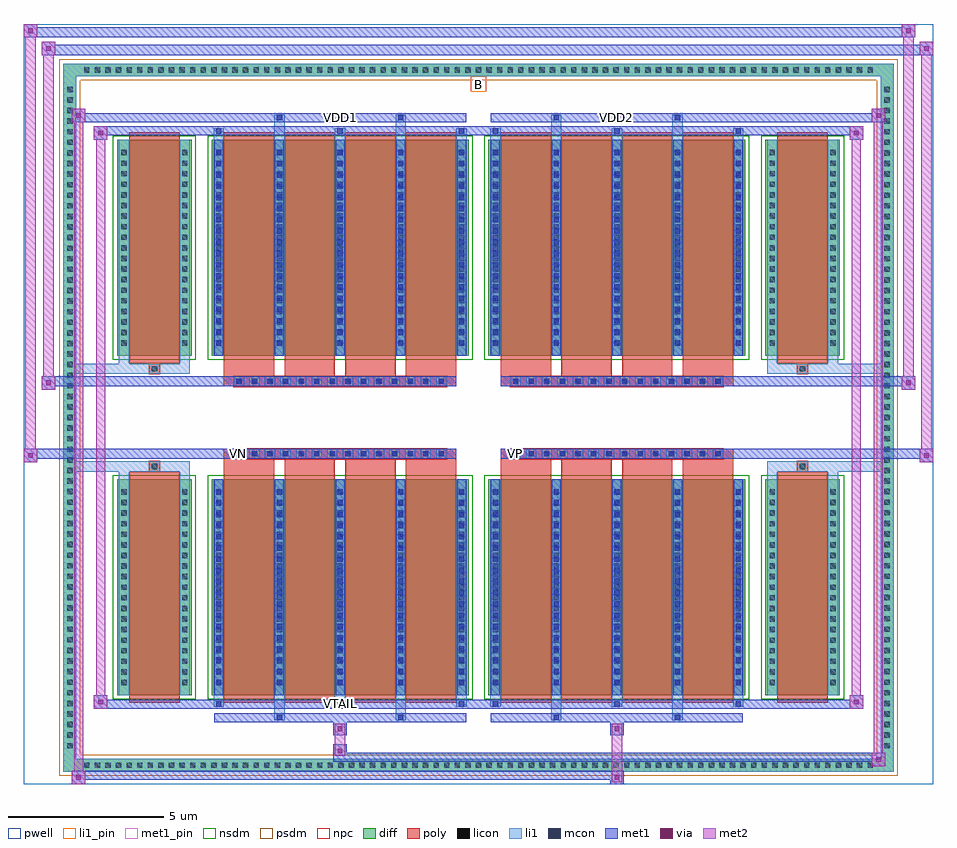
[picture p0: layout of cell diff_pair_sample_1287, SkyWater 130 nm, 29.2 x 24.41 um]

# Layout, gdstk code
import gdstk
lib = gdstk.Library(unit=1e-6, precision=5e-09)
def R(c, l, rs):  # rectangles x0, y0, x1, y1
    for r in rs: c.add(gdstk.rectangle(r[:2], r[2:], *l))
def A(c, l, x, y, w, h, nx, ny, dx, dy):  # array of equal rectangles
    R(c, l, [(x+i*dx, y+j*dy, x+i*dx+w, y+j*dy+h) for i in range(nx) for j in range(ny)])
def P(c, l, *ps):  # polygons
    for p in ps: c.add(gdstk.Polygon(p, *l))
pwell = (64, 44)
diff = (65, 20)
poly = (66, 20)
licon = (66, 44)
li1_pin = (67, 16)
li1 = (67, 20)
mcon = (67, 44)
met1_pin = (68, 16)
met1 = (68, 20)
via = (68, 44)
met2 = (69, 20)
nsdm = (93, 44)
psdm = (94, 20)
npc = (95, 20)

diff_pair_sample_1287 = lib.new_cell('diff_pair_sample_1287')
R(diff_pair_sample_1287, pwell, [(-14.6,-11.77,14.6,12.64), (-11.92,-9.96,-0.01,-0.8), (0.01,-9.96,11.92,-0.8), (-11.92,0.8,-0.01,9.96), (0.01,0.8,11.92,9.96)])
A(diff_pair_sample_1287, diff, -12.785, -11.37, 0.41, 0.41, 75, 2, 0.34, 22.33)
A(diff_pair_sample_1287, diff, -13.33, -10.745, 0.41, 0.41, 1, 63, 0, 0.34)
A(diff_pair_sample_1287, diff, 12.92, -10.745, 0.41, 0.41, 1, 63, 0, 0.34)
R(diff_pair_sample_1287, diff, [(-12.785,-11.37,12.785,-10.96), (-13.33,-10.745,-12.92,10.745), (12.92,-10.745,13.33,10.745), (-11.61,-8.915,-9.21,-1.985), (-8.57,-8.915,-0.32,-1.985), (0.32,-8.915,8.57,-1.985), (9.21,-8.915,11.61,-1.985), (-11.61,1.985,-9.21,8.915), (-8.57,1.985,-0.32,8.915), (0.32,1.985,8.57,8.915), (9.21,1.985,11.61,8.915), (-12.785,10.96,12.785,11.37)])
P(diff_pair_sample_1287, diff, [(13.33,11.37),(-13.33,11.37),(-13.33,-10.96),(-12.92,-10.96),(-12.92,10.96),(12.92,10.96),(12.92,-10.96),(-12.92,-10.96),(-13.33,-10.96),(-13.33,-11.37),(13.33,-11.37)])
A(diff_pair_sample_1287, poly, -8.18, -9.165, 1.62, 7.43, 4, 2, 1.95, 10.9)
A(diff_pair_sample_1287, poly, 0.71, -9.165, 1.62, 7.43, 4, 2, 1.95, 10.9)
A(diff_pair_sample_1287, poly, -8.18, -1.735, 1.62, 0.405, 4, 2, 1.95, 3.065)
A(diff_pair_sample_1287, poly, 0.71, -1.735, 1.62, 0.405, 4, 2, 1.95, 3.065)
A(diff_pair_sample_1287, poly, -7.86, -1.33, 0.33, 0.33, 14, 2, 0.5, 2.33)
A(diff_pair_sample_1287, poly, 1.03, -1.33, 0.33, 0.33, 14, 2, 0.5, 2.33)
R(diff_pair_sample_1287, poly, [(-11.22,-9.165,-9.6,-1.735), (9.6,-9.165,11.22,-1.735), (-10.575,-1.735,-10.245,-1.405), (-10.575,-1.735,-10.245,-1.405), (10.245,-1.735,10.575,-1.405), (10.245,-1.735,10.575,-1.405), (-8.18,-1.33,-0.71,-1), (0.71,-1.33,8.18,-1), (-8.18,1,-0.71,1.33), (0.71,1,8.18,1.33), (-10.575,1.405,-10.245,1.735), (-10.575,1.405,-10.245,1.735), (10.245,1.405,10.575,1.735), (10.245,1.405,10.575,1.735), (-11.22,1.735,-9.6,9.165), (9.6,1.735,11.22,9.165)])
A(diff_pair_sample_1287, licon, -12.665, -11.25, 0.17, 0.17, 75, 2, 0.34, 22.33)
A(diff_pair_sample_1287, licon, -13.21, -10.625, 0.17, 0.17, 1, 63, 0, 0.34)
A(diff_pair_sample_1287, licon, 13.04, -10.625, 0.17, 0.17, 1, 63, 0, 0.34)
A(diff_pair_sample_1287, licon, -11.47, -8.595, 0.17, 0.17, 1, 19, 0, 0.34)
A(diff_pair_sample_1287, licon, -9.52, -8.595, 0.17, 0.17, 1, 19, 0, 0.34)
A(diff_pair_sample_1287, licon, -8.43, -8.595, 0.17, 0.17, 5, 19, 1.95, 0.34)
A(diff_pair_sample_1287, licon, 0.46, -8.595, 0.17, 0.17, 5, 19, 1.95, 0.34)
A(diff_pair_sample_1287, licon, 9.35, -8.595, 0.17, 0.17, 1, 19, 0, 0.34)
A(diff_pair_sample_1287, licon, 11.3, -8.595, 0.17, 0.17, 1, 19, 0, 0.34)
A(diff_pair_sample_1287, licon, -7.78, -1.25, 0.17, 0.17, 14, 2, 0.5, 2.33)
A(diff_pair_sample_1287, licon, 1.11, -1.25, 0.17, 0.17, 14, 2, 0.5, 2.33)
A(diff_pair_sample_1287, licon, -11.47, 2.305, 0.17, 0.17, 1, 19, 0, 0.34)
A(diff_pair_sample_1287, licon, -9.52, 2.305, 0.17, 0.17, 1, 19, 0, 0.34)
A(diff_pair_sample_1287, licon, -8.43, 2.305, 0.17, 0.17, 5, 19, 1.95, 0.34)
A(diff_pair_sample_1287, licon, 0.46, 2.305, 0.17, 0.17, 5, 19, 1.95, 0.34)
A(diff_pair_sample_1287, licon, 9.35, 2.305, 0.17, 0.17, 1, 19, 0, 0.34)
A(diff_pair_sample_1287, licon, 11.3, 2.305, 0.17, 0.17, 1, 19, 0, 0.34)
R(diff_pair_sample_1287, licon, [(-10.495,-1.655,-10.325,-1.485), (10.325,-1.655,10.495,-1.485), (-10.495,1.485,-10.325,1.655), (10.325,1.485,10.495,1.655)])
R(diff_pair_sample_1287, li1_pin, [(-0.25,10.46,0.25,10.96)])
A(diff_pair_sample_1287, li1, -12.745, -11.33, 0.33, 0.33, 75, 2, 0.34, 22.33)
A(diff_pair_sample_1287, li1, -13.29, -10.705, 0.33, 0.33, 1, 63, 0, 0.34)
A(diff_pair_sample_1287, li1, 12.96, -10.705, 0.33, 0.33, 1, 63, 0, 0.34)
A(diff_pair_sample_1287, li1, -8.51, -9.29, 0.33, 0.375, 3, 2, 3.9, 18.205)
A(diff_pair_sample_1287, li1, -8.43, -9.29, 0.17, 0.17, 3, 2, 3.9, 18.41)
A(diff_pair_sample_1287, li1, 0.38, -9.29, 0.33, 0.375, 3, 2, 3.9, 18.205)
A(diff_pair_sample_1287, li1, 0.46, -9.29, 0.17, 0.17, 3, 2, 3.9, 18.41)
A(diff_pair_sample_1287, li1, -8.51, -8.915, 0.33, 6.93, 5, 2, 1.95, 10.9)
A(diff_pair_sample_1287, li1, 0.38, -8.915, 0.33, 6.93, 5, 2, 1.95, 10.9)
A(diff_pair_sample_1287, li1, -11.55, -8.675, 0.33, 0.33, 1, 19, 0, 0.34)
A(diff_pair_sample_1287, li1, -9.6, -8.675, 0.33, 0.33, 1, 19, 0, 0.34)
A(diff_pair_sample_1287, li1, -8.51, -8.675, 0.33, 0.33, 5, 19, 1.95, 0.34)
A(diff_pair_sample_1287, li1, 0.38, -8.675, 0.33, 0.33, 5, 19, 1.95, 0.34)
A(diff_pair_sample_1287, li1, 9.27, -8.675, 0.33, 0.33, 1, 19, 0, 0.34)
A(diff_pair_sample_1287, li1, 11.22, -8.675, 0.33, 0.33, 1, 19, 0, 0.34)
A(diff_pair_sample_1287, li1, -8.43, -8.595, 0.17, 0.17, 5, 18, 1.95, 0.36)
A(diff_pair_sample_1287, li1, -8.43, -8.595, 0.17, 6.29, 5, 2, 1.95, 10.9)
A(diff_pair_sample_1287, li1, 0.46, -8.595, 0.17, 0.17, 5, 18, 1.95, 0.36)
A(diff_pair_sample_1287, li1, 0.46, -8.595, 0.17, 6.29, 5, 2, 1.95, 10.9)
A(diff_pair_sample_1287, li1, -7.86, -1.33, 0.33, 0.33, 14, 2, 0.5, 2.33)
A(diff_pair_sample_1287, li1, 1.03, -1.33, 0.33, 0.33, 14, 2, 0.5, 2.33)
A(diff_pair_sample_1287, li1, -11.55, 2.225, 0.33, 0.33, 1, 19, 0, 0.34)
A(diff_pair_sample_1287, li1, -9.6, 2.225, 0.33, 0.33, 1, 19, 0, 0.34)
A(diff_pair_sample_1287, li1, -8.51, 2.225, 0.33, 0.33, 5, 19, 1.95, 0.34)
A(diff_pair_sample_1287, li1, 0.38, 2.225, 0.33, 0.33, 5, 19, 1.95, 0.34)
A(diff_pair_sample_1287, li1, 9.27, 2.225, 0.33, 0.33, 1, 19, 0, 0.34)
A(diff_pair_sample_1287, li1, 11.22, 2.225, 0.33, 0.33, 1, 19, 0, 0.34)
A(diff_pair_sample_1287, li1, -8.43, 2.305, 0.17, 0.17, 5, 18, 1.95, 0.36)
A(diff_pair_sample_1287, li1, 0.46, 2.305, 0.17, 0.17, 5, 18, 1.95, 0.36)
R(diff_pair_sample_1287, li1, [(-13.33,-11.37,-12.92,-10.96), (-13.33,-11.37,-12.92,-10.96), (-12.92,-11.37,12.92,-10.96), (12.92,-11.37,13.33,-10.96), (12.92,-11.37,13.33,-10.96), (-13.33,-10.96,-12.92,10.96), (12.92,-10.96,13.33,10.96), (-6.56,-9.72,-6.23,-8.915), (-6.48,-9.72,-6.31,-9.55), (-2.66,-9.72,-2.33,-8.915), (-2.58,-9.72,-2.41,-9.55), (2.33,-9.72,2.66,-8.915), (2.41,-9.72,2.58,-9.55), (6.23,-9.72,6.56,-8.915), (6.31,-9.72,6.48,-9.55), (-11.55,-8.915,-11.22,-1.985), (-9.6,-8.915,-9.27,-1.985), (9.27,-8.915,9.6,-1.985), (11.22,-8.915,11.55,-1.985), (-11.55,-1.985,-11.22,-1.405), (-9.6,-1.985,-9.27,-1.405), (9.27,-1.985,9.6,-1.405), (11.22,-1.985,11.55,-1.405), (-13.33,-1.735,-10.575,-1.405), (-11.55,-1.735,-10.575,-1.405), (-10.575,-1.735,-10.245,-1.405), (-10.245,-1.735,-9.27,-1.405), (9.27,-1.735,10.245,-1.405), (10.245,-1.735,10.575,-1.405), (10.245,-1.735,13.33,-1.405), (10.575,-1.735,11.55,-1.405), (-13.33,1.405,-10.575,1.735), (-11.55,1.405,-10.575,1.735), (-11.55,1.405,-11.22,1.985), (-10.575,1.405,-10.245,1.735), (-10.245,1.405,-9.27,1.735), (-9.6,1.405,-9.27,1.985), (9.27,1.405,10.245,1.735), (9.27,1.405,9.6,1.985), (10.245,1.405,10.575,1.735), (10.245,1.405,13.33,1.735), (10.575,1.405,11.55,1.735), (11.22,1.405,11.55,1.985), (-11.55,1.985,-11.22,8.915), (-9.6,1.985,-9.27,8.915), (9.27,1.985,9.6,8.915), (11.22,1.985,11.55,8.915), (-6.56,8.915,-6.23,9.72), (-2.66,8.915,-2.33,9.72), (2.33,8.915,2.66,9.72), (6.23,8.915,6.56,9.72), (-6.48,9.55,-6.31,9.72), (-2.58,9.55,-2.41,9.72), (2.41,9.55,2.58,9.72), (6.31,9.55,6.48,9.72), (-13.33,10.96,-12.92,11.37), (-13.33,10.96,-12.92,11.37), (-12.92,10.96,12.92,11.37), (12.92,10.96,13.33,11.37), (12.92,10.96,13.33,11.37)])
A(diff_pair_sample_1287, mcon, -8.43, -9.29, 0.17, 0.17, 3, 2, 3.9, 18.41)
A(diff_pair_sample_1287, mcon, 0.46, -9.29, 0.17, 0.17, 3, 2, 3.9, 18.41)
A(diff_pair_sample_1287, mcon, -8.43, -8.595, 0.17, 0.17, 5, 18, 1.95, 0.36)
A(diff_pair_sample_1287, mcon, 0.46, -8.595, 0.17, 0.17, 5, 18, 1.95, 0.36)
A(diff_pair_sample_1287, mcon, -7.78, -1.25, 0.17, 0.17, 14, 2, 0.5, 2.33)
A(diff_pair_sample_1287, mcon, 1.11, -1.25, 0.17, 0.17, 14, 2, 0.5, 2.33)
A(diff_pair_sample_1287, mcon, -8.43, 2.305, 0.17, 0.17, 5, 18, 1.95, 0.36)
A(diff_pair_sample_1287, mcon, 0.46, 2.305, 0.17, 0.17, 5, 18, 1.95, 0.36)
R(diff_pair_sample_1287, mcon, [(-6.48,-9.72,-6.31,-9.55), (-2.58,-9.72,-2.41,-9.55), (2.41,-9.72,2.58,-9.55), (6.31,-9.72,6.48,-9.55), (-6.48,9.55,-6.31,9.72), (-2.58,9.55,-2.41,9.72), (2.41,9.55,2.58,9.72), (6.31,9.55,6.48,9.72)])
R(diff_pair_sample_1287, met1_pin, [(-4.58,-9.33,-4.31,-9.06), (-7.83,-1.29,-7.56,-1.02), (1.06,-1.29,1.33,-1.02), (-4.58,9.51,-4.31,9.78), (4.31,9.51,4.58,9.78)])
A(diff_pair_sample_1287, met1, -8.49, -9.35, 0.29, 0.29, 3, 2, 3.9, 18.41)
A(diff_pair_sample_1287, met1, 0.4, -9.35, 0.29, 0.29, 3, 2, 3.9, 18.41)
A(diff_pair_sample_1287, met1, -8.49, -8.915, 0.29, 6.93, 5, 2, 1.95, 10.9)
A(diff_pair_sample_1287, met1, 0.4, -8.915, 0.29, 6.93, 5, 2, 1.95, 10.9)
A(diff_pair_sample_1287, met1, -8.49, -8.655, 0.29, 0.29, 5, 18, 1.95, 0.36)
A(diff_pair_sample_1287, met1, 0.4, -8.655, 0.29, 0.29, 5, 18, 1.95, 0.36)
A(diff_pair_sample_1287, met1, -7.84, -1.31, 0.29, 0.29, 14, 2, 0.5, 2.33)
A(diff_pair_sample_1287, met1, 1.05, -1.31, 0.29, 0.29, 14, 2, 0.5, 2.33)
A(diff_pair_sample_1287, met1, -8.49, 2.245, 0.29, 0.29, 5, 18, 1.95, 0.36)
A(diff_pair_sample_1287, met1, 0.4, 2.245, 0.29, 0.29, 5, 18, 1.95, 0.36)
R(diff_pair_sample_1287, met1, [(-13.06,-11.77,-12.63,-11.34), (4.23,-11.77,4.66,-11.34), (-13.06,-11.63,4.66,-11.34), (12.63,-11.2,13.06,-10.77), (-4.66,-11.06,13.06,-10.77), (-4.66,-10.92,-4.23,-10.49), (-4.66,-10.21,-4.23,-9.78), (4.23,-10.21,4.66,-9.78), (-8.49,-9.78,-0.4,-9.49), (-6.54,-9.78,-6.25,-9.49), (-2.64,-9.78,-2.35,-9.49), (0.4,-9.78,8.49,-9.49), (2.35,-9.78,2.64,-9.49), (6.25,-9.78,6.54,-9.49), (-12.35,-9.35,-11.92,-8.92), (-12.35,-9.35,-8.49,-9.06), (-8.49,-9.35,-0.4,-9.06), (-0.4,-9.35,0.4,-9.06), (0.4,-9.35,8.49,-9.06), (8.49,-9.35,12.35,-9.06), (11.92,-9.35,12.35,-8.92), (-14.6,-1.43,-14.17,-1), (14.17,-1.43,14.6,-1), (-14.6,-1.33,-0.71,-1), (-8.18,-1.33,-0.71,-1), (0.71,-1.33,8.18,-1), (0.71,-1.33,14.6,-1), (-14.03,0.9,-13.6,1.33), (13.6,0.9,14.03,1.33), (-14.03,1,-8.18,1.33), (-8.18,1,-0.71,1.33), (0.71,1,8.18,1.33), (8.18,1,14.03,1.33), (-12.35,8.92,-11.92,9.35), (11.92,8.92,12.35,9.35), (-12.35,9.06,-8.49,9.35), (-8.49,9.06,-0.4,9.35), (-0.4,9.06,0.4,9.35), (0.4,9.06,8.49,9.35), (8.49,9.06,12.35,9.35), (-13.06,9.49,-12.63,9.92), (-13.06,9.49,-8.49,9.78), (-8.49,9.49,-0.4,9.78), (-6.54,9.49,-6.25,9.78), (-2.64,9.49,-2.35,9.78), (0.4,9.49,8.49,9.78), (2.35,9.49,2.64,9.78), (6.25,9.49,6.54,9.78), (8.49,9.49,13.06,9.78), (12.63,9.49,13.06,9.92), (-14.03,11.64,-13.6,12.07), (-14.03,11.64,-11.92,11.97), (-11.92,11.64,11.92,11.97), (11.92,11.64,14.6,11.97), (14.17,11.64,14.6,12.07), (-14.6,12.21,-14.17,12.64), (-14.6,12.21,-11.92,12.54), (-11.92,12.21,11.92,12.54), (11.92,12.21,14.03,12.54), (13.6,12.21,14.03,12.64)])
R(diff_pair_sample_1287, via, [(-12.92,-11.63,-12.77,-11.48), (4.37,-11.63,4.52,-11.48), (12.77,-11.06,12.92,-10.91), (-4.52,-10.78,-4.37,-10.63), (-4.52,-10.07,-4.37,-9.92), (4.37,-10.07,4.52,-9.92), (-12.21,-9.21,-12.06,-9.06), (12.06,-9.21,12.21,-9.06), (-14.46,-1.29,-14.31,-1.14), (14.31,-1.29,14.46,-1.14), (-13.89,1.04,-13.74,1.19), (13.74,1.04,13.89,1.19), (-12.21,9.06,-12.06,9.21), (12.06,9.06,12.21,9.21), (-12.92,9.63,-12.77,9.78), (12.77,9.63,12.92,9.78), (-13.89,11.78,-13.74,11.93), (14.31,11.78,14.46,11.93), (-14.46,12.35,-14.31,12.5), (13.74,12.35,13.89,12.5)])
R(diff_pair_sample_1287, met2, [(-13.06,-11.77,-12.63,-11.34), (-12.99,-11.77,-12.7,9.92), (-12.7,-11.77,-12.63,-11.34), (-13.01,-11.72,-12.68,-11.39), (4.28,-11.72,4.61,-11.39), (4.28,-11.39,4.61,-10.16), (12.63,-11.2,13.06,-10.77), (12.7,-11.2,12.99,9.92), (12.99,-11.2,13.06,-10.77), (12.68,-11.15,13.01,-10.82), (-4.61,-10.87,-4.28,-10.54), (-4.61,-10.54,-4.28,-10.16), (-4.61,-10.16,-4.28,-9.83), (4.28,-10.16,4.61,-9.83), (-12.35,-9.35,-11.92,-8.92), (-12.28,-9.35,-11.99,9.35), (-11.99,-9.35,-11.92,-8.92), (11.92,-9.35,12.35,-8.92), (11.99,-9.35,12.28,9.35), (12.28,-9.35,12.35,-8.92), (-12.3,-9.3,-11.97,-8.97), (11.97,-9.3,12.3,-8.97), (-14.6,-1.43,-14.17,-1), (-14.55,-1.43,-14.22,12.64), (-14.22,-1.43,-14.17,-1), (14.17,-1.43,14.6,-1), (14.22,-1.43,14.55,12.07), (14.55,-1.43,14.6,-1), (-14.55,-1.38,-14.22,-1.05), (14.22,-1.38,14.55,-1.05), (-14.03,0.9,-13.6,1.33), (-13.98,0.9,-13.65,12.07), (-13.65,0.9,-13.6,1.33), (13.6,0.9,14.03,1.33), (13.65,0.9,13.98,12.64), (13.98,0.9,14.03,1.33), (-13.98,0.95,-13.65,1.28), (13.65,0.95,13.98,1.28), (-12.35,8.92,-11.92,9.35), (-11.99,8.92,-11.92,9.35), (11.92,8.92,12.35,9.35), (12.28,8.92,12.35,9.35), (-12.3,8.97,-11.97,9.3), (11.97,8.97,12.3,9.3), (-13.06,9.49,-12.63,9.92), (-12.7,9.49,-12.63,9.92), (12.63,9.49,13.06,9.92), (12.99,9.49,13.06,9.92), (-13.01,9.54,-12.68,9.87), (12.68,9.54,13.01,9.87), (-14.03,11.64,-13.6,12.07), (-13.65,11.64,-13.6,12.07), (14.17,11.64,14.6,12.07), (14.55,11.64,14.6,12.07), (-13.98,11.69,-13.65,12.02), (14.22,11.69,14.55,12.02), (-14.6,12.21,-14.17,12.64), (-14.22,12.21,-14.17,12.64), (13.6,12.21,14.03,12.64), (13.98,12.21,14.03,12.64), (-14.55,12.26,-14.22,12.59), (13.65,12.26,13.98,12.59)])
R(diff_pair_sample_1287, nsdm, [(-11.74,-9.045,-9.08,-1.855), (-8.7,-9.045,-0.19,-1.855), (0.19,-9.045,8.7,-1.855), (9.08,-9.045,11.74,-1.855), (-11.74,1.855,-9.08,9.045), (-8.7,1.855,-0.19,9.045), (0.19,1.855,8.7,9.045), (9.08,1.855,11.74,9.045)])
P(diff_pair_sample_1287, psdm, [(13.46,11.5),(-13.46,11.5),(-13.46,-10.83),(-12.79,-10.83),(-12.79,10.83),(12.79,10.83),(12.79,-10.83),(-12.79,-10.83),(-13.46,-10.83),(-13.46,-11.5),(13.46,-11.5)])
A(diff_pair_sample_1287, npc, -7.88, -1.35, 0.37, 0.37, 14, 2, 0.5, 2.33)
A(diff_pair_sample_1287, npc, 1.01, -1.35, 0.37, 0.37, 14, 2, 0.5, 2.33)
R(diff_pair_sample_1287, npc, [(-10.595,-1.755,-10.225,-1.385), (10.225,-1.755,10.595,-1.385), (-7.88,-1.35,-7.01,-0.98), (-7.88,-1.35,-7.01,-0.98), (-7.38,-1.35,-6.51,-0.98), (-7.38,-1.35,-6.51,-0.98), (-6.88,-1.35,-6.01,-0.98), (-6.88,-1.35,-6.01,-0.98), (-6.38,-1.35,-5.51,-0.98), (-6.38,-1.35,-5.51,-0.98), (-5.88,-1.35,-5.01,-0.98), (-5.88,-1.35,-5.01,-0.98), (-5.38,-1.35,-4.51,-0.98), (-5.38,-1.35,-4.51,-0.98), (-4.88,-1.35,-4.01,-0.98), (-4.88,-1.35,-4.01,-0.98), (-4.38,-1.35,-3.51,-0.98), (-4.38,-1.35,-3.51,-0.98), (-3.88,-1.35,-3.01,-0.98), (-3.88,-1.35,-3.01,-0.98), (-3.38,-1.35,-2.51,-0.98), (-3.38,-1.35,-2.51,-0.98), (-2.88,-1.35,-2.01,-0.98), (-2.88,-1.35,-2.01,-0.98), (-2.38,-1.35,-1.51,-0.98), (-2.38,-1.35,-1.51,-0.98), (-1.88,-1.35,-1.01,-0.98), (-1.88,-1.35,-1.01,-0.98), (1.01,-1.35,1.88,-0.98), (1.01,-1.35,1.88,-0.98), (1.51,-1.35,2.38,-0.98), (1.51,-1.35,2.38,-0.98), (2.01,-1.35,2.88,-0.98), (2.01,-1.35,2.88,-0.98), (2.51,-1.35,3.38,-0.98), (2.51,-1.35,3.38,-0.98), (3.01,-1.35,3.88,-0.98), (3.01,-1.35,3.88,-0.98), (3.51,-1.35,4.38,-0.98), (3.51,-1.35,4.38,-0.98), (4.01,-1.35,4.88,-0.98), (4.01,-1.35,4.88,-0.98), (4.51,-1.35,5.38,-0.98), (4.51,-1.35,5.38,-0.98), (5.01,-1.35,5.88,-0.98), (5.01,-1.35,5.88,-0.98), (5.51,-1.35,6.38,-0.98), (5.51,-1.35,6.38,-0.98), (6.01,-1.35,6.88,-0.98), (6.01,-1.35,6.88,-0.98), (6.51,-1.35,7.38,-0.98), (6.51,-1.35,7.38,-0.98), (7.01,-1.35,7.88,-0.98), (7.01,-1.35,7.88,-0.98), (-7.88,0.98,-7.01,1.35), (-7.88,0.98,-7.01,1.35), (-7.38,0.98,-6.51,1.35), (-7.38,0.98,-6.51,1.35), (-6.88,0.98,-6.01,1.35), (-6.88,0.98,-6.01,1.35), (-6.38,0.98,-5.51,1.35), (-6.38,0.98,-5.51,1.35), (-5.88,0.98,-5.01,1.35), (-5.88,0.98,-5.01,1.35), (-5.38,0.98,-4.51,1.35), (-5.38,0.98,-4.51,1.35), (-4.88,0.98,-4.01,1.35), (-4.88,0.98,-4.01,1.35), (-4.38,0.98,-3.51,1.35), (-4.38,0.98,-3.51,1.35), (-3.88,0.98,-3.01,1.35), (-3.88,0.98,-3.01,1.35), (-3.38,0.98,-2.51,1.35), (-3.38,0.98,-2.51,1.35), (-2.88,0.98,-2.01,1.35), (-2.88,0.98,-2.01,1.35), (-2.38,0.98,-1.51,1.35), (-2.38,0.98,-1.51,1.35), (-1.88,0.98,-1.01,1.35), (-1.88,0.98,-1.01,1.35), (1.01,0.98,1.88,1.35), (1.01,0.98,1.88,1.35), (1.51,0.98,2.38,1.35), (1.51,0.98,2.38,1.35), (2.01,0.98,2.88,1.35), (2.01,0.98,2.88,1.35), (2.51,0.98,3.38,1.35), (2.51,0.98,3.38,1.35), (3.01,0.98,3.88,1.35), (3.01,0.98,3.88,1.35), (3.51,0.98,4.38,1.35), (3.51,0.98,4.38,1.35), (4.01,0.98,4.88,1.35), (4.01,0.98,4.88,1.35), (4.51,0.98,5.38,1.35), (4.51,0.98,5.38,1.35), (5.01,0.98,5.88,1.35), (5.01,0.98,5.88,1.35), (5.51,0.98,6.38,1.35), (5.51,0.98,6.38,1.35), (6.01,0.98,6.88,1.35), (6.01,0.98,6.88,1.35), (6.51,0.98,7.38,1.35), (6.51,0.98,7.38,1.35), (7.01,0.98,7.88,1.35), (7.01,0.98,7.88,1.35), (-10.595,1.385,-10.225,1.755), (10.225,1.385,10.595,1.755)])
diff_pair_sample_1287.add(gdstk.Label('VTAIL', (-4.445,-9.195), layer=68, texttype=5))
diff_pair_sample_1287.add(gdstk.Label('VN', (-7.695,-1.155), layer=68, texttype=5))
diff_pair_sample_1287.add(gdstk.Label('VP', (1.195,-1.155), layer=68, texttype=5))
diff_pair_sample_1287.add(gdstk.Label('B', (0,10.71), layer=67, texttype=5))
diff_pair_sample_1287.add(gdstk.Label('VDD2', (4.445,9.645), layer=68, texttype=5))
diff_pair_sample_1287.add(gdstk.Label('VDD1', (-4.445,9.645), layer=68, texttype=5))

lib.write_gds('diff_pair_sample_1287.gds')
